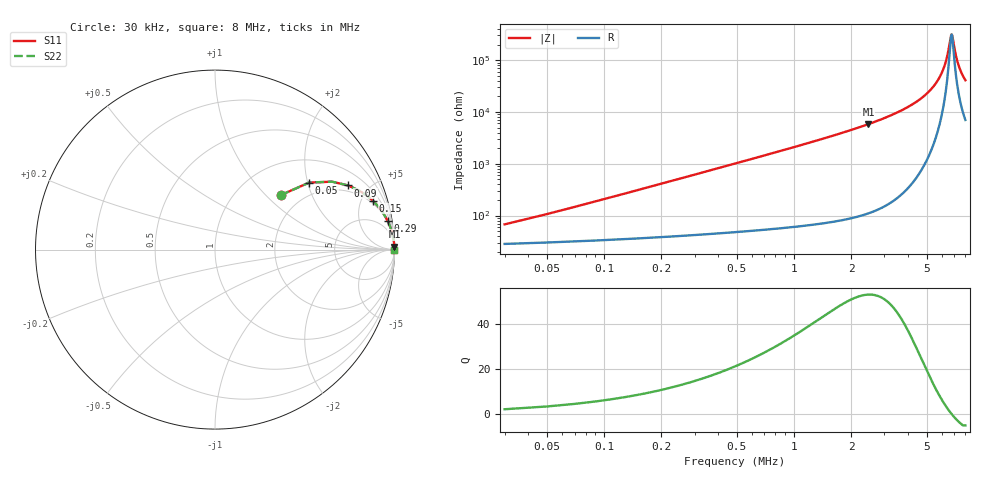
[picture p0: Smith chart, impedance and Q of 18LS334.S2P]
! Coilcraft 1812LS-334 Chip Inductor
! 8 August 2002
# MHZ S MA R 50
!Freq  MagS11  AngS11  MagS21  AngS21  MagS12  AngS12  MagS22  AngS22
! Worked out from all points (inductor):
!   400 points, 30 kHz to 8 MHz, reference 50 ohm
!   read as one part in series: L = 325 uH near 70 kHz
!   highest Q = 52.8 at 2.47 MHz (marker M1), where L = 375 uH
!   self-resonance near 6.77 MHz
!   S11 on the Smith chart (normalised r, x): 30 kHz: 1.57, +1.23; 50 kHz: 1.60, +2.04; 90 kHz: 1.66, +3.68; 150 kHz: 1.72, +6.13; 290 kHz: 2, +12; 8 MHz: open
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0.03  0.4746 39.7  0.7034 -25.5  0.7034 -25.5  0.4746 39.7
0.05  0.6436 35.4  0.6046 -38.1  0.6046 -38.1  0.6436 35.4
0.09  0.8233 25.7  0.4409 -54.1  0.4409 -54.1  0.8233 25.7
0.15  0.9203 17.2  0.2982 -66.1  0.2982 -66.1  0.9203 17.2
0.29  0.9751 9.4  0.1639 -76.6  0.1639 -76.6  0.9751 9.4
0.47  0.9897 5.9  0.1025 -81.3  0.1025 -81.3  0.9897 5.9
0.69  0.995 4.0  0.06983 -83.9  0.06983 -83.9  0.995 4.0
1.37  0.9986 2.0  0.03423 -86.7  0.03423 -86.7  0.9986 2.0
2.47  0.9995 1.0  0.01718 -87.9  0.01718 -87.9  0.9995 1.0
2.69  0.9996 0.9  0.01532 -88.0  0.01532 -88.0  0.9996 0.9
4.03  0.9998 0.4  0.007848 -88.0  0.007848 -88.0  0.9998 0.4
5.35  0.9998 0.2  0.003451 -85.8  0.003451 -85.8  0.9998 0.2
5.81  0.9997 0.1  0.002243 -83.2  0.002243 -83.2  0.9997 0.1
6.17  0.9997 0.1  0.001382 -78.2  0.001382 -78.2  0.9997 0.1
6.43  0.9997 0.0  0.000812 -68.5  0.000812 -68.5  0.9997 0.0
6.69  0.9997 0.0  0.0003635 -30.3  0.0003635 -30.3  0.9997 0.0
6.75  0.9997 0.0  0.0003226 -9.7  0.0003226 -9.7  0.9997 0.0
6.81  0.9997 -0.0  0.0003302 12.8  0.0003302 12.8  0.9997 -0.0
7.09  0.9997 -0.0  0.0007385 62.4  0.0007385 62.4  0.9997 -0.0
7.29  0.9996 -0.1  0.001115 71.3  0.001115 71.3  0.9996 -0.1
7.59  0.9996 -0.1  0.001684 76.8  0.001684 76.8  0.9996 -0.1
8  0.9996 -0.1  0.002442 80.0  0.002442 80.0  0.9996 -0.1
